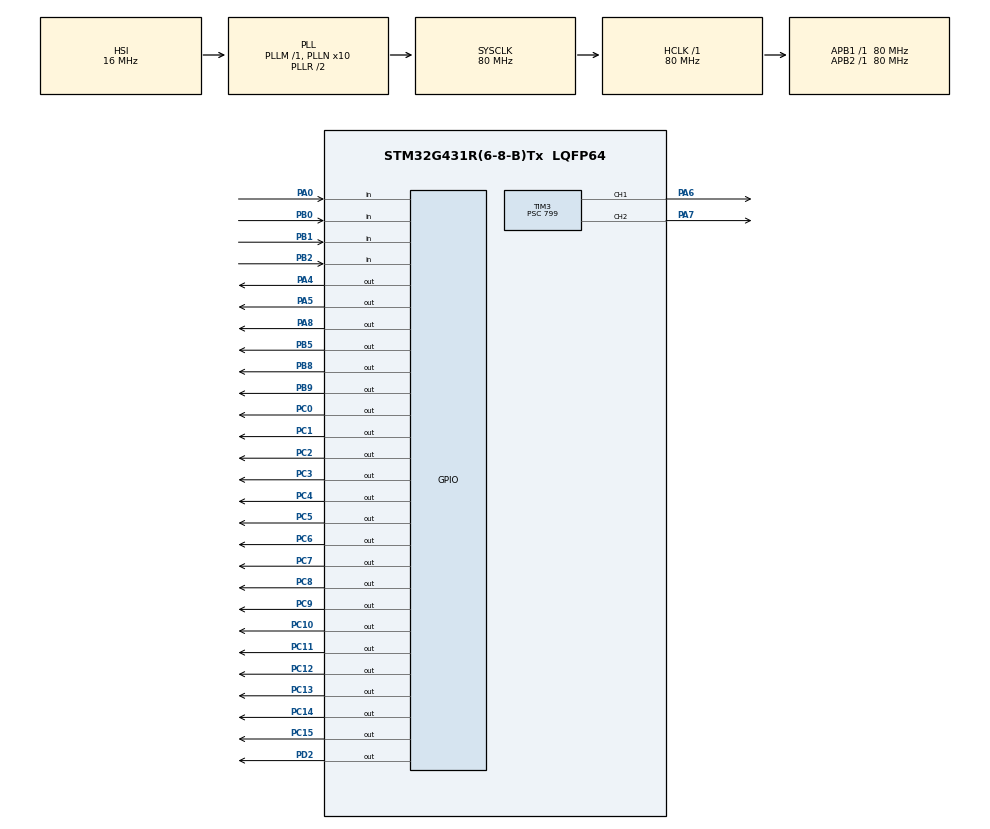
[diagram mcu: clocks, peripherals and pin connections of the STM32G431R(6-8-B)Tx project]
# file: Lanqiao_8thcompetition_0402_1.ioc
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Mcu.Family=STM32G4
Mcu.Name=STM32G431R(6-8-B)Tx
Mcu.Package=LQFP64
NVIC.PriorityGroup=NVIC_PRIORITYGROUP_4
NVIC.TIM2_IRQn=true\:3\:0\:true\:false\:true\:true\:true
NVIC.TIM6_DAC_IRQn=true\:4\:0\:true\:false\:true\:true\:true
NVIC.TIM7_IRQn=true\:5\:0\:true\:false\:true\:true\:true
PA0.Signal=GPIO_Input
PA4.Signal=GPIO_Output
PA5.Signal=GPIO_Output
PA6.Signal=S_TIM3_CH1
PA7.Signal=S_TIM3_CH2
PA8.Signal=GPIO_Output
PB0.Signal=GPIO_Input
PB1.Signal=GPIO_Input
PB2.Signal=GPIO_Input
PB5.Signal=GPIO_Output
PB8-BOOT0.Signal=GPIO_Output
PB9.Signal=GPIO_Output
PC0.Signal=GPIO_Output
PC1.Signal=GPIO_Output
PC10.Signal=GPIO_Output
PC11.Signal=GPIO_Output
PC12.Signal=GPIO_Output
PC13.Signal=GPIO_Output
PC14-OSC32_IN.Signal=GPIO_Output
PC15-OSC32_OUT.Signal=GPIO_Output
PC2.Signal=GPIO_Output
PC3.Signal=GPIO_Output
PC4.Signal=GPIO_Output
PC5.Signal=GPIO_Output
PC6.Signal=GPIO_Output
PC7.Signal=GPIO_Output
PC8.Signal=GPIO_Output
PC9.Signal=GPIO_Output
PD2.Signal=GPIO_Output
ProjectManager.HeapSize=0x200
ProjectManager.StackSize=0x400
ProjectManager.TargetToolchain=MDK-ARM V5
RCC.ADC12Freq_Value=80000000
RCC.AHBFreq_Value=80000000
RCC.APB1Freq_Value=80000000
RCC.APB1TimFreq_Value=80000000
RCC.APB2Freq_Value=80000000
RCC.APB2TimFreq_Value=80000000
RCC.CortexFreq_Value=80000000
RCC.EXTERNAL_CLOCK_VALUE=12288000
RCC.HCLKFreq_Value=80000000
RCC.HSE_VALUE=8000000
RCC.HSI48_VALUE=48000000
RCC.HSI_VALUE=16000000
RCC.LSE_VALUE=32768
RCC.PLLN=10
RCC.SYSCLKFreq_VALUE=80000000
RCC.SYSCLKSource=RCC_SYSCLKSOURCE_PLLCLK
RCC.USBFreq_Value=80000000
RCC.VCOOutputFreq_Value=160000000
RTC.Format=RTC_FORMAT_BCD
RTC.Hours=12
RTC.Minutes=50
RTC.Seconds=55
SH.S_TIM3_CH1.0=TIM3_CH1,PWM Generation1 CH1
SH.S_TIM3_CH2.0=TIM3_CH2,PWM Generation2 CH2
TIM2.PeriodNoDither=9999
TIM2.Prescaler=7999
TIM3.Channel-PWM\ Generation1\ CH1=TIM_CHANNEL_1
TIM3.Channel-PWM\ Generation2\ CH2=TIM_CHANNEL_2
TIM3.PeriodNoDither=99
TIM3.Prescaler=799
TIM6.PeriodNoDither=2499
TIM6.Prescaler=7999
TIM7.PeriodNoDither=2499
TIM7.Prescaler=7999
VP_RTC_VS_RTC_Activate.Mode=RTC_Enabled
VP_RTC_VS_RTC_Calendar.Mode=RTC_Calendar
VP_SYS_VS_DBSignals.Mode=DisableDeadBatterySignals
VP_TIM2_VS_ClockSourceINT.Mode=Internal
VP_TIM3_VS_ClockSourceINT.Mode=Internal
VP_TIM6_VS_ClockSourceINT.Mode=Enable_Timer
VP_TIM7_VS_ClockSourceINT.Mode=Enable_Timer
board=custom

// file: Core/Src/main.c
/* USER CODE BEGIN Header */
/**
  ******************************************************************************
  * @file           : main.c
  * @brief          : Main program body
  ******************************************************************************
  * @attention
  *
  * <h2><center>&copy; Copyright (c) 2021 STMicroelectronics.
  * All rights reserved.</center></h2>
  *
  * This software component is licensed by ST under BSD 3-Clause license,
  * the "License"; You may not use this file except in compliance with the
  * License. You may obtain a copy of the License at:
  *                        opensource.org/licenses/BSD-3-Clause
  *
  ******************************************************************************
  */
/* USER CODE END Header */
#include "main.h"
#include "rtc.h"
#include "tim.h"
#include "gpio.h"

/* USER CODE BEGIN Includes */
#include "stdio.h"
#include "string.h"
#include "lcd.h"
/* USER CODE END Includes */

/* USER CODE BEGIN PTD */
typedef enum
{
	UP=0,
	DOWN=1
}Direction;
typedef enum
{
	COMMAND=0,
	RUN=1
}whileState;
/* USER CODE END PTD */

/* USER CODE BEGIN PM */
RTC_DateTypeDef sDates;
RTC_TimeTypeDef sTimes;
/* USER CODE END PM */

/* USER CODE BEGIN PV */
char nowFlatChar[22],nowTime[22];
uint8_t nowflat=1,twinkle=1;
uint8_t lightNow=5;                   // 用于存放流水灯当前亮的那个
uint8_t lightState[5]={0,0,0,0,0};    // 用于存放LD1到LD4的状态
Direction direction=DOWN;
whileState ws=COMMAND;
/* USER CODE END PV */

void SystemClock_Config(void);
/* USER CODE BEGIN PFP */
void keyscan()
{
	if (HAL_GPIO_ReadPin(GPIOB,GPIO_PIN_0)==GPIO_PIN_RESET)
	{
		while (HAL_GPIO_ReadPin(GPIOB,GPIO_PIN_0)==GPIO_PIN_RESET);
		if (nowflat!=1)
		{
			lightState[1]=1;
			HAL_GPIO_WritePin(GPIOD,GPIO_PIN_2,GPIO_PIN_SET);
			HAL_GPIO_WritePin(GPIOC,GPIO_PIN_8,GPIO_PIN_RESET);
			HAL_GPIO_WritePin(GPIOD,GPIO_PIN_2,GPIO_PIN_RESET);
		}
		TIM2->CNT=0;
	}
	if (HAL_GPIO_ReadPin(GPIOB,GPIO_PIN_1)==GPIO_PIN_RESET)
	{
		while (HAL_GPIO_ReadPin(GPIOB,GPIO_PIN_1)==GPIO_PIN_RESET);
		if (nowflat!=2)
		{
			lightState[2]=1;
			HAL_GPIO_WritePin(GPIOD,GPIO_PIN_2,GPIO_PIN_SET);
			HAL_GPIO_WritePin(GPIOC,GPIO_PIN_9,GPIO_PIN_RESET);
			HAL_GPIO_WritePin(GPIOD,GPIO_PIN_2,GPIO_PIN_RESET);
		}
		TIM2->CNT=0;
	}
	if (HAL_GPIO_ReadPin(GPIOB,GPIO_PIN_2)==GPIO_PIN_RESET)
	{
		while (HAL_GPIO_ReadPin(GPIOB,GPIO_PIN_2)==GPIO_PIN_RESET);
		if (nowflat!=3)
		{
			lightState[3]=1;
			HAL_GPIO_WritePin(GPIOD,GPIO_PIN_2,GPIO_PIN_SET);
			HAL_GPIO_WritePin(GPIOC,GPIO_PIN_10,GPIO_PIN_RESET);
			HAL_GPIO_WritePin(GPIOD,GPIO_PIN_2,GPIO_PIN_RESET);
		}
		TIM2->CNT=0;
	}
	if (HAL_GPIO_ReadPin(GPIOA,GPIO_PIN_0)==GPIO_PIN_RESET)
	{
		while (HAL_GPIO_ReadPin(GPIOA,GPIO_PIN_0)==GPIO_PIN_RESET);
		if (nowflat!=4)
		{
			lightState[4]=1;
			HAL_GPIO_WritePin(GPIOD,GPIO_PIN_2,GPIO_PIN_SET);
			HAL_GPIO_WritePin(GPIOC,GPIO_PIN_11,GPIO_PIN_RESET);
			HAL_GPIO_WritePin(GPIOD,GPIO_PIN_2,GPIO_PIN_RESET);
		}
		TIM2->CNT=0;
	}
}
/* USER CODE END PFP */

int main(void)
{

  /* MCU Configuration--------------------------------------------------------*/

  /* Reset of all peripherals, Initializes the Flash interface and the Systick. */
  HAL_Init();

  /* Configure the system clock */
  SystemClock_Config();

  /* Initialize all configured peripherals */
  MX_GPIO_Init();
  MX_RTC_Init();
  MX_TIM3_Init();
  MX_TIM7_Init();
  MX_TIM6_Init();
  MX_TIM2_Init();
  /* USER CODE BEGIN 2 */

	LCD_Init();
	LCD_SetBackColor(Black);
	LCD_SetTextColor(White);
	LCD_DisplayStringLine(Line0,(uint8_t *)"                    ");
	LCD_DisplayStringLine(Line1,(uint8_t *)"      Now Flat      ");
	sprintf(nowFlatChar,"          %d         ",nowflat);
	LCD_DisplayStringLine(Line3,(uint8_t *)nowFlatChar);
	LCD_DisplayStringLine(Line2,(uint8_t *)"                    ");
	LCD_DisplayStringLine(Line4,(uint8_t *)"                    ");
	LCD_DisplayStringLine(Line5,(uint8_t *)"                    ");
	LCD_DisplayStringLine(Line6,(uint8_t *)"                    ");
	LCD_DisplayStringLine(Line7,(uint8_t *)"                    ");
	LCD_DisplayStringLine(Line8,(uint8_t *)"                    ");
	GPIOC->BSRR=0x0000FF00;
	HAL_GPIO_WritePin(GPIOD,GPIO_PIN_2,GPIO_PIN_SET);
	HAL_GPIO_WritePin(GPIOD,GPIO_PIN_2,GPIO_PIN_RESET);
	HAL_TIM_Base_Start_IT(&htim7);
	HAL_TIM_Base_Start(&htim3);

			HAL_TIM_Base_Start_IT(&htim2);        // 用于检测按键是否有1s未按下
	//HAL_TIM_Base_Start_IT(&htim6);
  /* USER CODE END 2 */

  /* Infinite loop */
  /* USER CODE BEGIN WHILE */
  while (1)
  {
		if (ws==COMMAND)
		{
			keyscan();
		}
		else
		{
			for (int j=nowflat+1;j<=4;j++)
			{
				direction=UP;
				if (lightState[j])
				{
					// close the door
					HAL_GPIO_WritePin(GPIOA,GPIO_PIN_5,GPIO_PIN_RESET);
					TIM3->PSC=799;
					TIM3->ARR=99;
					TIM3->CCR1=50;
					HAL_TIM_PWM_Start(&htim3,TIM_CHANNEL_1);
					HAL_Delay(4000);
					HAL_TIM_PWM_Stop(&htim3,TIM_CHANNEL_1);
					// go up
					HAL_GPIO_WritePin(GPIOA,GPIO_PIN_4,GPIO_PIN_SET);
					TIM3->PSC=399;
					TIM3->ARR=99;
					TIM3->CCR2=80;
					HAL_TIM_PWM_Start(&htim3,TIM_CHANNEL_2);
					HAL_TIM_Base_Start_IT(&htim6);
					HAL_Delay(6000);
					lightState[j]=0;
					HAL_GPIO_WritePin(GPIOD,GPIO_PIN_2,GPIO_PIN_SET);
					if (j==2) HAL_GPIO_WritePin(GPIOC,GPIO_PIN_9,GPIO_PIN_SET);
					if (j==3) HAL_GPIO_WritePin(GPIOC,GPIO_PIN_10,GPIO_PIN_SET);
					if (j==4) HAL_GPIO_WritePin(GPIOC,GPIO_PIN_11,GPIO_PIN_SET);
					HAL_TIM_Base_Stop_IT(&htim6);
					GPIOC->BSRR=0x0000F000;
					HAL_GPIO_WritePin(GPIOD,GPIO_PIN_2,GPIO_PIN_RESET);
					nowflat=j;
					HAL_TIM_PWM_Stop(&htim3,TIM_CHANNEL_2);
					// open the door
					HAL_GPIO_WritePin(GPIOA,GPIO_PIN_5,GPIO_PIN_SET);
					TIM3->PSC=799;
					TIM3->ARR=99;
					TIM3->CCR1=60;
					HAL_TIM_PWM_Start(&htim3,TIM_CHANNEL_1);
					HAL_Delay(4000);
					HAL_TIM_PWM_Stop(&htim3,TIM_CHANNEL_1);
				}
			}
			// 下行
			for (int j=nowflat-1;j>=1;j--)
			{
				direction=DOWN;
				if (lightState[j])
				{
					// close the door
					HAL_GPIO_WritePin(GPIOA,GPIO_PIN_5,GPIO_PIN_RESET);
					TIM3->PSC=799;
					TIM3->ARR=99;
					TIM3->CCR1=50;
					HAL_TIM_PWM_Start(&htim3,TIM_CHANNEL_1);
					HAL_Delay(4000);
					HAL_TIM_PWM_Stop(&htim3,TIM_CHANNEL_1);
					// go up
					HAL_GPIO_WritePin(GPIOA,GPIO_PIN_4,GPIO_PIN_RESET);
					TIM3->PSC=399;
					TIM3->ARR=99;
					TIM3->CCR2=60;
					HAL_TIM_PWM_Start(&htim3,TIM_CHANNEL_2);
					HAL_TIM_Base_Start_IT(&htim6);
					HAL_Delay(6000);
					lightState[j]=0;
					HAL_GPIO_WritePin(GPIOD,GPIO_PIN_2,GPIO_PIN_SET);
					if (j==2) HAL_GPIO_WritePin(GPIOC,GPIO_PIN_9,GPIO_PIN_SET);
					if (j==3) HAL_GPIO_WritePin(GPIOC,GPIO_PIN_10,GPIO_PIN_SET);
					if (j==1) HAL_GPIO_WritePin(GPIOC,GPIO_PIN_8,GPIO_PIN_SET);
					HAL_TIM_Base_Stop_IT(&htim6);
					GPIOC->BSRR=0x0000F000;
					HAL_GPIO_WritePin(GPIOD,GPIO_PIN_2,GPIO_PIN_RESET);
					nowflat=j;
					HAL_TIM_PWM_Stop(&htim3,TIM_CHANNEL_2);
					// open the door
					HAL_GPIO_WritePin(GPIOA,GPIO_PIN_5,GPIO_PIN_SET);
					TIM3->PSC=799;
					TIM3->ARR=99;
					TIM3->CCR1=60;
					HAL_TIM_PWM_Start(&htim3,TIM_CHANNEL_1);
					HAL_Delay(4000);
					HAL_TIM_PWM_Stop(&htim3,TIM_CHANNEL_1);
				}
			}
			ws=COMMAND;
		}
    /* USER CODE END WHILE */

  }
}

void SystemClock_Config(void)
{
  RCC_OscInitTypeDef RCC_OscInitStruct = {0};
  RCC_ClkInitTypeDef RCC_ClkInitStruct = {0};
  RCC_PeriphCLKInitTypeDef PeriphClkInit = {0};

  /** Configure the main internal regulator output voltage
  */
  HAL_PWREx_ControlVoltageScaling(PWR_REGULATOR_VOLTAGE_SCALE1);
  /** Initializes the RCC Oscillators according to the specified parameters
  * in the RCC_OscInitTypeDef structure.
  */
  RCC_OscInitStruct.OscillatorType = RCC_OSCILLATORTYPE_HSI|RCC_OSCILLATORTYPE_LSI;
  RCC_OscInitStruct.HSIState = RCC_HSI_ON;
  RCC_OscInitStruct.HSICalibrationValue = RCC_HSICALIBRATION_DEFAULT;
  RCC_OscInitStruct.LSIState = RCC_LSI_ON;
  RCC_OscInitStruct.PLL.PLLState = RCC_PLL_ON;
  RCC_OscInitStruct.PLL.PLLSource = RCC_PLLSOURCE_HSI;
  RCC_OscInitStruct.PLL.PLLM = RCC_PLLM_DIV1;
  RCC_OscInitStruct.PLL.PLLN = 10;
  RCC_OscInitStruct.PLL.PLLP = RCC_PLLP_DIV2;
  RCC_OscInitStruct.PLL.PLLQ = RCC_PLLQ_DIV2;
  RCC_OscInitStruct.PLL.PLLR = RCC_PLLR_DIV2;
  if (HAL_RCC_OscConfig(&RCC_OscInitStruct) != HAL_OK)
  {
    Error_Handler();
  }
  /** Initializes the CPU, AHB and APB buses clocks
  */
  RCC_ClkInitStruct.ClockType = RCC_CLOCKTYPE_HCLK|RCC_CLOCKTYPE_SYSCLK
                              |RCC_CLOCKTYPE_PCLK1|RCC_CLOCKTYPE_PCLK2;
  RCC_ClkInitStruct.SYSCLKSource = RCC_SYSCLKSOURCE_PLLCLK;
  RCC_ClkInitStruct.AHBCLKDivider = RCC_SYSCLK_DIV1;
  RCC_ClkInitStruct.APB1CLKDivider = RCC_HCLK_DIV1;
  RCC_ClkInitStruct.APB2CLKDivider = RCC_HCLK_DIV1;

  if (HAL_RCC_ClockConfig(&RCC_ClkInitStruct, FLASH_LATENCY_2) != HAL_OK)
  {
    Error_Handler();
  }
  /** Initializes the peripherals clocks
  */
  PeriphClkInit.PeriphClockSelection = RCC_PERIPHCLK_RTC;
  PeriphClkInit.RTCClockSelection = RCC_RTCCLKSOURCE_LSI;

  if (HAL_RCCEx_PeriphCLKConfig(&PeriphClkInit) != HAL_OK)
  {
    Error_Handler();
  }
}

/* USER CODE BEGIN 4 */
void HAL_TIM_PeriodElapsedCallback(TIM_HandleTypeDef *htim)
{
	if (htim->Instance==TIM2)
	{
		if (ws==COMMAND)
			ws=RUN;
	}
  if (htim->Instance==TIM7)
	{
		HAL_RTC_GetTime(&hrtc,&sTimes,RTC_FORMAT_BCD);
		HAL_RTC_GetDate(&hrtc,&sDates,RTC_FORMAT_BCD);
		sprintf(nowTime,"      %u%u:%u%u:%u%u      ",sTimes.Hours >> 4,sTimes.Hours & 15,
		sTimes.Minutes >> 4,sTimes.Minutes & 15,sTimes.Seconds >> 4,sTimes.Seconds & 15);
		LCD_DisplayStringLine(Line9,(uint8_t *)nowTime);
		if (twinkle)
		{
			sprintf(nowFlatChar,"          %d         ",nowflat);
			LCD_DisplayStringLine(Line3,(uint8_t *)nowFlatChar);
		}
		else
		{
			LCD_DisplayStringLine(Line3,(uint8_t *)"                    ");
		}
//		HAL_GPIO_WritePin(GPIOD,GPIO_PIN_2,GPIO_PIN_SET);
//		HAL_GPIO_WritePin(GPIOD,GPIO_PIN_2,GPIO_PIN_RESET);
		GPIOC->BSRR=0x0000FF00;
		if (lightState[1]) HAL_GPIO_WritePin(GPIOC,GPIO_PIN_8,GPIO_PIN_RESET);
		if (lightState[2]) HAL_GPIO_WritePin(GPIOC,GPIO_PIN_9,GPIO_PIN_RESET);
		if (lightState[3]) HAL_GPIO_WritePin(GPIOC,GPIO_PIN_10,GPIO_PIN_RESET);
		if (lightState[4]) HAL_GPIO_WritePin(GPIOC,GPIO_PIN_11,GPIO_PIN_RESET);
		twinkle=!twinkle;
	}
	if (htim->Instance==TIM6)
	{
		HAL_GPIO_WritePin(GPIOD,GPIO_PIN_2,GPIO_PIN_SET);
		switch (lightNow)
		{
			case 5:
			{
				GPIOC->BSRR=0x1000EF00;
				break;
			}
			case 6:
			{
				GPIOC->BSRR=0x2000DF00;
				break;
			}
			case 7:
			{
				GPIOC->BSRR=0x4000BF00;
				break;
			}
			case 8:
			{
				GPIOC->BSRR=0x80007F00;
				break;
			}
		}
		if (lightState[1]) HAL_GPIO_WritePin(GPIOC,GPIO_PIN_8,GPIO_PIN_RESET);
		if (lightState[2]) HAL_GPIO_WritePin(GPIOC,GPIO_PIN_9,GPIO_PIN_RESET);
		if (lightState[3]) HAL_GPIO_WritePin(GPIOC,GPIO_PIN_10,GPIO_PIN_RESET);
		if (lightState[4]) HAL_GPIO_WritePin(GPIOC,GPIO_PIN_11,GPIO_PIN_RESET);
		HAL_GPIO_WritePin(GPIOD,GPIO_PIN_2,GPIO_PIN_RESET);
		if (direction==UP)
		{
			lightNow++;
			if (lightNow==9) lightNow=5;
		}
		else
		{
			lightNow--;
			if (lightNow==4) lightNow=8;
		}
	}
}
/* USER CODE END 4 */

void Error_Handler(void)
{
  __disable_irq();
  while (1)
  {
  }
}

/************************ (C) COPYRIGHT STMicroelectronics *****END OF FILE****/
